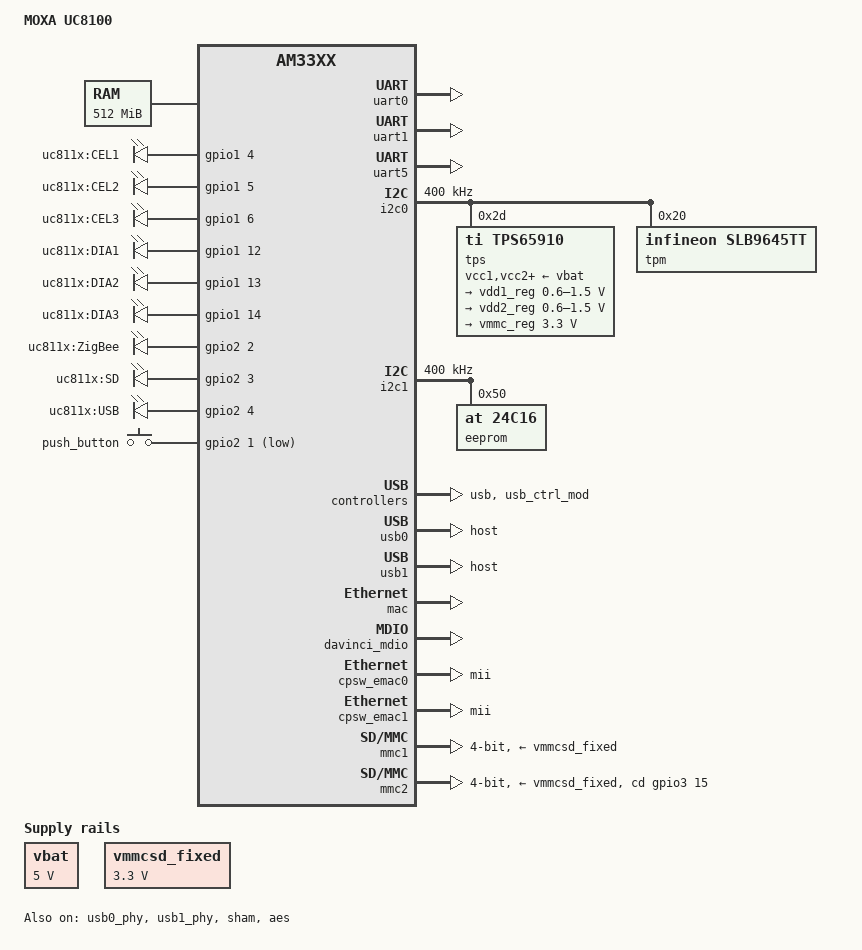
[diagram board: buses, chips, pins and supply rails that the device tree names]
/*
 * Copyright (C) 2015 MOXA Inc. - http://www.moxa.com/
 *
 * This program is free software; you can redistribute it and/or modify
 * it under the terms of the GNU General Public License version 2 as
 * published by the Free Software Foundation.
 */

/dts-v1/;

#include "am33xx.dtsi"
#include <dt-bindings/pwm/pwm.h>
#include <dt-bindings/interrupt-controller/irq.h>

/ {
	model = "MOXA UC8100";
	compatible = "ti,moxa-uc8100", "ti,am33xx";

	cpus {
		cpu@0 {
			cpu0-supply = <&vdd1_reg>;
		};
	};

	memory {
		device_type = "memory";
		reg = <0x80000000 0x20000000>; /* 512 MB */
	};

	vbat: fixedregulator@0 {
		compatible = "regulator-fixed";
		regulator-name = "vbat";
		regulator-min-microvolt = <5000000>;
		regulator-max-microvolt = <5000000>;
		regulator-boot-on;
	};

	/* Power supply provides a fixed 3.3V @3A */
	vmmcsd_fixed: fixedregulator@1 {
	      compatible = "regulator-fixed";
	      regulator-name = "vmmcsd_fixed";
	      regulator-min-microvolt = <3300000>;
	      regulator-max-microvolt = <3300000>;
	      regulator-boot-on;
	};



	leds {
		pinctrl-names = "default";
		pinctrl-0 = <&user_leds_s0>;

		compatible = "gpio-leds";

		led@1 {
			label = "uc811x:CEL1";
			gpios = <&gpio1 4 GPIO_ACTIVE_HIGH>;
			default-state = "off";
		};

		led@2 {
			label = "uc811x:CEL2";
			gpios = <&gpio1 5 GPIO_ACTIVE_HIGH>;
			default-state = "off";
		};

		led@3 {
			label = "uc811x:CEL3";
			gpios = <&gpio1 6 GPIO_ACTIVE_HIGH>;
			default-state = "off";
		};

		led@4 {
			label = "uc811x:DIA1";
			gpios = <&gpio1 12 GPIO_ACTIVE_HIGH>;
			default-state = "off";
		};
		led@5 {
			label = "uc811x:DIA2";
			gpios = <&gpio1 13 GPIO_ACTIVE_HIGH>;
			default-state = "off";
		};
		led@6 {
			label = "uc811x:DIA3";
			gpios = <&gpio1 14 GPIO_ACTIVE_HIGH>;
			default-state = "off";
		};
		led@7 {
			label = "uc811x:ZigBee";
			gpios = <&gpio2 2 GPIO_ACTIVE_HIGH>;
			default-state = "off";
		};
		led@8 {
			label = "uc811x:SD";
			gpios = <&gpio2 3 GPIO_ACTIVE_HIGH>;
			default-state = "off";
		};
		led@9 {
			label = "uc811x:USB";
			gpios = <&gpio2 4 GPIO_ACTIVE_HIGH>;
			default-state = "off";
		};
	};

	buttons: push_button {
		compatible = "gpio-keys";
	};

};

&am33xx_pinmux {
	pinctrl-names = "default";

	user_leds_s0: user_leds_s0 {
		pinctrl-single,pins = <
			0x10 (PIN_OUTPUT_PULLDOWN | MUX_MODE7)	/* gpmc_ad4.gpio1_4 */
			0x14 (PIN_OUTPUT_PULLDOWN | MUX_MODE7)	/* gpmc_ad5.gpio1_5 */
			0x18 (PIN_OUTPUT_PULLDOWN | MUX_MODE7)	/* gpmc_ad6.gpio1_6 */
			0x30 (PIN_OUTPUT_PULLDOWN | MUX_MODE7)   /* gpmc_ad12.gpio1_12 */
			0x34 (PIN_OUTPUT_PULLDOWN | MUX_MODE7)   /* gpmc_ad13.gpio1_13 */
			0x38 (PIN_OUTPUT_PULLDOWN | MUX_MODE7)   /* gpmc_ad14.gpio1_14 */
			0x90 (PIN_OUTPUT_PULLDOWN | MUX_MODE7)	/* gpmc_advn_ale.gpio2_2 */
			0x94 (PIN_OUTPUT_PULLDOWN | MUX_MODE7)	/* gpmc_oen_ren.gpio2_3 */
			0x98 (PIN_OUTPUT_PULLDOWN | MUX_MODE7)	/* gpmc_oen_ren.gpio2_4 */
		>;
	};

	push_button_pins: pinmux_push_button {
		pinctrl-single,pins = <
			0x8c (PIN_INPUT_PULLUP | MUX_MODE7)   /* GPMC_CLK.gpio2_1 */
		>;
	};

	i2c0_pins: pinmux_i2c0_pins {
		pinctrl-single,pins = <
			0x188 (PIN_INPUT_PULLUP | MUX_MODE0)	/* i2c0_sda.i2c0_sda */
			0x18c (PIN_INPUT_PULLUP | MUX_MODE0)	/* i2c0_scl.i2c0_scl */
		>;
	};

	i2c1_pins: pinmux_i2c1_pins {
		pinctrl-single,pins = <
			0x158 (PIN_INPUT_PULLUP | MUX_MODE2)	/* spi0_d1.i2c1_sda */
			0x15c (PIN_INPUT_PULLUP | MUX_MODE2)	/* spi0_cs0.i2c1_scl */
		>;
	};

	uart0_pins: pinmux_uart0_pins {
		pinctrl-single,pins = <
			0x170 (PIN_INPUT_PULLUP | MUX_MODE0)	/* uart0_rxd.uart0_rxd */
			0x174 (PIN_OUTPUT_PULLDOWN | MUX_MODE0)		/* uart0_txd.uart0_txd */
		>;
	};

	uart1_pins: pinmux_uart1_pins {
		pinctrl-single,pins = <
			0x178 (PIN_INPUT_PULLUP | MUX_MODE0)    /* uart1_ctsn.uart1_ctsn */
			0x17C (PIN_OUTPUT_PULLDOWN | MUX_MODE0) /* uart1_rtsn.uart1_rtsn */
			0x180 (PIN_INPUT_PULLUP | MUX_MODE0)    /* uart1_rxd.uart1_rxd */
			0x184 (PIN_OUTPUT_PULLDOWN | MUX_MODE0) /* uart1_txd.uart1_txd */
		>;
	};

	uart2_pins: pinmux_uart2_pins {
		pinctrl-single,pins = <
			0xd8 (PIN_INPUT_PULLUP | MUX_MODE6)	/* lcd_data14.uart5_ctsn */
                        0xdc (PIN_OUTPUT_PULLDOWN | MUX_MODE6)  /* lcd_data15.uart5_rtsn */
			0xc4 (PIN_INPUT_PULLUP | MUX_MODE4)     /* lcd_data9.uart5_rxd */
			0xc0 (PIN_OUTPUT_PULLDOWN | MUX_MODE4)  /* lcd_data8.uart5_txd */
		>;
	};

	tps_pins: pinmux_tps_pins {
		pinctrl-single,pins = <
			0x168 (PIN_INPUT | MUX_MODE7) /* UART0_CTSn.gpio1_8 */
		>;
	};

	cpsw_default: cpsw_default {
		pinctrl-single,pins = <
			/* Slave 1 */
			0x110 (PIN_INPUT_PULLUP | MUX_MODE0)    /* mii1_rxerr.mii1_rxerr */
			0x114 (PIN_OUTPUT_PULLDOWN | MUX_MODE0) /* mii1_txen.mii1_txen */
			0x118 (PIN_INPUT_PULLUP | MUX_MODE0)    /* mii1_rxdv.mii1_rxdv */
			0x11c (PIN_OUTPUT_PULLDOWN | MUX_MODE0) /* mii1_txd3.mii1_txd3 */
			0x120 (PIN_OUTPUT_PULLDOWN | MUX_MODE0) /* mii1_txd2.mii1_txd2 */
			0x124 (PIN_OUTPUT_PULLDOWN | MUX_MODE0) /* mii1_txd1.mii1_txd1 */
			0x128 (PIN_OUTPUT_PULLDOWN | MUX_MODE0) /* mii1_txd0.mii1_txd0 */
			0x12c (PIN_INPUT_PULLUP | MUX_MODE0)    /* mii1_txclk.mii1_txclk */
			0x130 (PIN_INPUT_PULLUP | MUX_MODE0)    /* mii1_rxclk.mii1_rxclk */
			0x134 (PIN_INPUT_PULLUP | MUX_MODE0)    /* mii1_rxd3.mii1_rxd3 */
			0x138 (PIN_INPUT_PULLUP | MUX_MODE0)    /* mii1_rxd2.mii1_rxd2 */
			0x13c (PIN_INPUT_PULLUP | MUX_MODE0)    /* mii1_rxd1.mii1_rxd1 */
			0x140 (PIN_INPUT_PULLUP | MUX_MODE0)    /* mii1_rxd0.mii1_rxd0 */

			/* Slave 2 */
			0x3c (PIN_INPUT_PULLUP | MUX_MODE1)	/* gpmc_wpn.mii2_rxerr */
			0x40 (PIN_OUTPUT_PULLDOWN | MUX_MODE1)	/* gpmc_a0.mii2_txen */
			0x44 (PIN_INPUT_PULLUP | MUX_MODE1)	/* gpmc_a1.mii2_rxdv */
			0x48 (PIN_OUTPUT_PULLDOWN | MUX_MODE1)	/* gpmc_a2.mii2_txd3 */
			0x4c (PIN_OUTPUT_PULLDOWN | MUX_MODE1)	/* gpmc_a3.mii2_txd2 */
			0x50 (PIN_OUTPUT_PULLDOWN | MUX_MODE1)	/* gpmc_a4.mii2_txd1 */
			0x54 (PIN_OUTPUT_PULLDOWN | MUX_MODE1)	/* gpmc_a5.mii2_txd0 */
			0x58 (PIN_INPUT_PULLUP | MUX_MODE1)	/* gpmc_a6.mii2_txclk */
			0x5c (PIN_INPUT_PULLUP | MUX_MODE1)	/* gpmc_a7.mii2_rxclk */
			0x60 (PIN_INPUT_PULLUP | MUX_MODE1)	/* gpmc_a8.mii2_rxd3 */
			0x64 (PIN_INPUT_PULLUP | MUX_MODE1)	/* gpmc_a9.mii2_rxd2 */
			0x68 (PIN_INPUT_PULLUP | MUX_MODE1)	/* gpmc_a10.mii2_rxd1 */
			0x6c (PIN_INPUT_PULLUP | MUX_MODE1)	/* gpmc_a11.mii2_rxd0 */
		>;
	};

	davinci_mdio_default: davinci_mdio_default {
		pinctrl-single,pins = <
			/* MDIO */
			0x148 (PIN_INPUT_PULLUP | SLEWCTRL_FAST | MUX_MODE0)	/* mdio_data.mdio_data */
			0x14c (PIN_OUTPUT_PULLUP | MUX_MODE0)			/* mdio_clk.mdio_clk */
		>;
	};

	mmc0_pins_default: pinmux_mmc0_pins {
		pinctrl-single,pins = <
			0xf0 (PIN_INPUT_PULLUP | MUX_MODE0)	/* mmc0_dat3 */
			0xf4 (PIN_INPUT_PULLUP | MUX_MODE0)	/* mmc0_dat2 */
			0xf8 (PIN_INPUT_PULLUP | MUX_MODE0)	/* mmc0_dat1 */
			0xfc (PIN_INPUT_PULLUP | MUX_MODE0)	/* mmc0_dat0 */
			0x100 (PIN_INPUT_PULLUP | MUX_MODE0)	/* mmc0_clk */
			0x104 (PIN_INPUT_PULLUP | MUX_MODE0)	/* mmc0_cmd */
		>;
	};

	mmc1_pins_default: pinmux_mmc1_pins {
		pinctrl-single,pins = <
			0x80 (PIN_INPUT_PULLUP | MUX_MODE2) /* gpmc_csn1.mmc1_clk */
			0x84 (PIN_INPUT_PULLUP | MUX_MODE2) /* gpmc_csn2.mmc1_cmd */
			0x00 (PIN_INPUT_PULLUP | MUX_MODE1) /* gpmc_ad0.mmc1_dat0 */
			0x04 (PIN_INPUT_PULLUP | MUX_MODE1) /* gpmc_ad1.mmc1_dat1 */
			0x08 (PIN_INPUT_PULLUP | MUX_MODE1) /* gpmc_ad2.mmc1_dat2 */
			0x0c (PIN_INPUT_PULLUP | MUX_MODE1) /* gpmc_ad3.mmc1_dat3 */
		>;
	};

};

&uart0 {
	pinctrl-names = "default";
	pinctrl-0 = <&uart0_pins>;
	status = "okay";
};

&uart1 {
	/* UART 1 setting */
	status = "okay";
	pinctrl-names = "default";
	pinctrl-0 = <&uart1_pins>;
};

&uart5 {
	/* UART 2 setting */
	status = "okay";
	pinctrl-names = "default";
	pinctrl-0 = <&uart2_pins>;
};



&i2c0 {
	pinctrl-names = "default";
	pinctrl-0 = <&i2c0_pins>;

	status = "okay";
	clock-frequency = <400000>;

	tps: tps@2d {
		compatible = "ti,tps65910";
		reg = <0x2d>;
	};

	tpm: tpm@20 {
		compatible = "infineon,slb9645tt";
		reg = <0x20>;
	};

};

&i2c1 {
	pinctrl-names = "default";
	pinctrl-0 = <&i2c1_pins>;

	status = "okay";
	clock-frequency = <400000>;
	eeprom: eeprom@50 {
		compatible = "at,24c16";
		pagesize = <16>;
		reg = <0x50>;
	};
};

&usb {
	status = "okay";
};

&usb_ctrl_mod {
	status = "okay";
};

&usb0_phy {
	status = "okay";
};

&usb1_phy {
	status = "okay";
};

&usb0 {
	status = "okay";
	dr_mode = "host";
};

&usb1 {
	status = "okay";
	dr_mode = "host";
};

&cppi41dma  {
	status = "okay";
};


#include "tps65910.dtsi"

&tps {
	pinctrl-names = "default";
	pinctrl-0 = <&tps_pins>;

	interrupts = <7>;
	interrupt-parent = <&intc>;

	ti,en-ck32k-xtal;

	vcc1-supply = <&vbat>;
	vcc2-supply = <&vbat>;
	vcc3-supply = <&vbat>;
	vcc4-supply = <&vbat>;
	vcc5-supply = <&vbat>;
	vcc6-supply = <&vbat>;
	vcc7-supply = <&vbat>;
	vccio-supply = <&vbat>;

	regulators {
		vrtc_reg: regulator@0 {
			regulator-always-on;
		};

		vio_reg: regulator@1 {
			regulator-always-on;
		};

		vdd1_reg: regulator@2 {
			/* VDD_MPU voltage limits 0.95V - 1.26V with +/-4% tolerance */
			regulator-name = "vdd_mpu";
			regulator-min-microvolt = <600000>;
			regulator-max-microvolt = <1500000>;
			regulator-boot-on;
			regulator-always-on;
		};

		vdd2_reg: regulator@3 {
			/* VDD_CORE voltage limits 0.95V - 1.1V with +/-4% tolerance */
			regulator-name = "vdd_core";
			regulator-min-microvolt = <600000>;
			regulator-max-microvolt = <1500000>;
			regulator-boot-on;
			regulator-always-on;
		};

		vdd3_reg: regulator@4 {
			regulator-always-on;
		};

		vdig1_reg: regulator@5 {
			regulator-always-on;
		};

		vdig2_reg: regulator@6 {
			regulator-always-on;
		};

		vpll_reg: regulator@7 {
			regulator-always-on;
		};

		vdac_reg: regulator@8 {
			regulator-always-on;
		};

		vaux1_reg: regulator@9 {
			regulator-always-on;
		};

		vaux2_reg: regulator@10 {
			regulator-always-on;
		};

		vaux33_reg: regulator@11 {
			regulator-always-on;
		};

		vbb_reg: regulator@13 {
			regulator-always-on;
		};

		vmmc_reg: regulator@12 {
			compatible = "regulator-fixed";
			regulator-name = "vmmc_reg";
			regulator-min-microvolt = <3300000>;
			regulator-max-microvolt = <3300000>;
			regulator-always-on;
		};
	};
};

&mac {
	pinctrl-names = "default";
	pinctrl-0 = <&cpsw_default>;
	dual_emac = <1>;
	status = "okay";
};

&davinci_mdio {
	pinctrl-names = "default";
	pinctrl-0 = <&davinci_mdio_default>;
	status = "okay";
};

&cpsw_emac0 {
	phy_id = <&davinci_mdio>, <16>;
	phy-mode = "mii";
	dual_emac_res_vlan = <1>;
};

&cpsw_emac1 {
	phy_id = <&davinci_mdio>, <2>;
	phy-mode = "mii";
	dual_emac_res_vlan = <2>;
};

&sham {
	status = "okay";
};

&aes {
	status = "okay";
};

&gpio0 {
	ti,no-reset-on-init;
};

&mmc1 {
	pinctrl-names = "default";
	vmmc-supply = <&vmmcsd_fixed>;
	bus-width = <4>;
	pinctrl-0 = <&mmc0_pins_default>;
	status = "okay";
};

&mmc2 {
	pinctrl-names = "default";
	vmmc-supply = <&vmmcsd_fixed>;
	bus-width = <4>;
	pinctrl-0 = <&mmc1_pins_default>;
	cd-gpios = <&gpio3 15 GPIO_ACTIVE_HIGH>;
	status = "okay";
};

&buttons {
	pinctrl-names = "default";
	pinctrl-0 = <&push_button_pins>;
	#address-cells = <1>;
	#size-cells = <0>;

	button@0 {
		label = "push_button";
		linux,code = <0x100>;
		gpios = <&gpio2 1 GPIO_ACTIVE_LOW>;
	};
};

